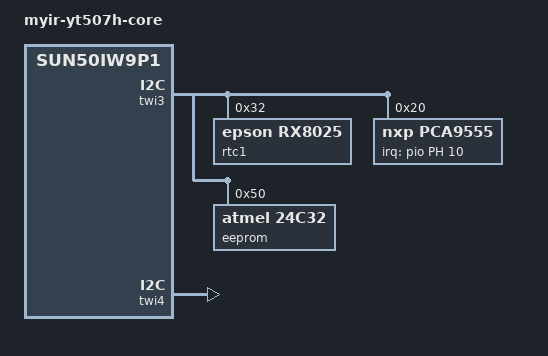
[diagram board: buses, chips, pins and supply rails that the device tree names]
/*
 *
 * myir-yt507 support.
 */

/dts-v1/;

#include "myir-yt507.dtsi"
#include "display/myir-hdmi-1920x1080-1lvds-7-1024x600.dtsi"     

/{
	model = "myir-yt507h-core";
	compatible = "allwinner,t507", "arm,sun50iw9p1";

	aliases {
		pmu0 = &pmu0;
		standby_param = &standby_param;
	
	};
	

	soc@03000000 {
		
		twi2: twi@0x05002800{
			status = "disabled";

		};
		
		twi3: twi@0x05002c00{
			status = "okay";
			rtc1: rtc1@32 {
				compatible = "epson,rx8025";
				reg = <0x32>;
				status = "okay";
				};
				
			pca9555: gpio@20 {
                		compatible = "nxp,pca9555";
                		reg = <0x20>;
                		/*gpio-controller;
                		#gpio-cells = <2>;
                		lines-initial-states = <0x0000>;*/
				//pinctrl-names = "default";
				//pinctrl-0 = <&pinctrl_pca9505>;
				interrupt-parent = <&pio>;
				interrupts = <PH 10 IRQ_TYPE_LEVEL_LOW>;
                		status = "okay";
        			};

		   	eeprom: eeprom@50 {
          			compatible = "atmel,24c32";
          			reg = <0x50>;
          			pagesize = <32>;
          			//wp-gpios = <&gpioa 14 0>;
          			num-addresses = <8>;
      				};
        	
		};

		twi4: twi@0x05003000{
                        status = "okay";
			/*
			sgtl5000@0a {
                                compatible = "allwinner,sgtl5000";
                                device_type = "sgtl5000";
                                reg = <0x0a>;

                                VDDA-supply = <&reg_audio_vdd>;
                                VDDIO-supply = <&reg_audio_vdd>;
                                VDDD-supply = <&reg_audio_vdd1v8>;
                                micbias-resistor-k-ohms = <4>;
                                micbias-voltage-m-volts = <2250>;
                                status = "okay";
                        };
			*/
                };
	};
};
